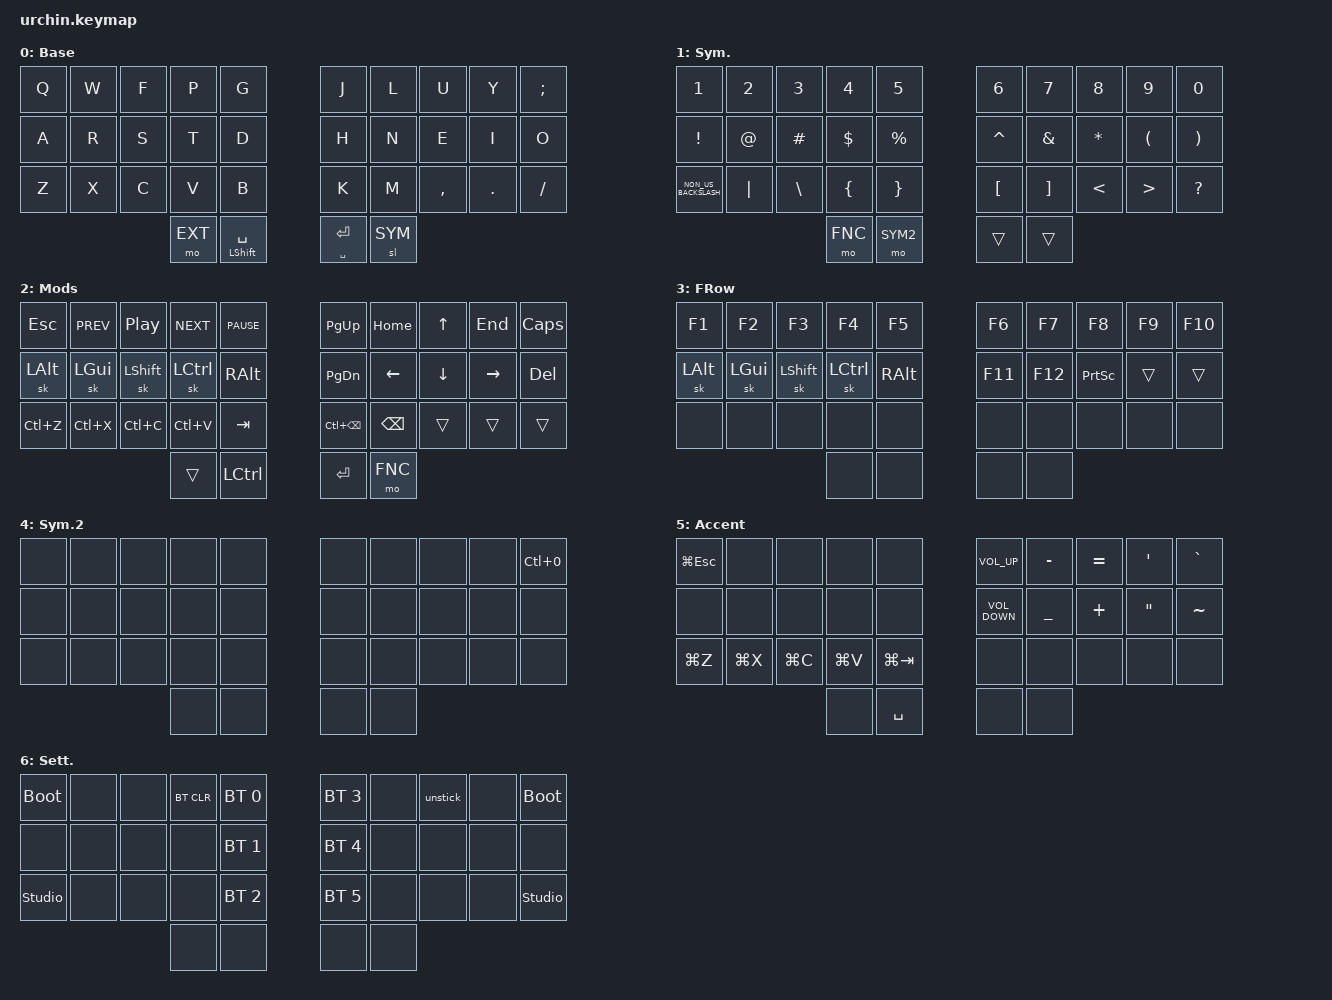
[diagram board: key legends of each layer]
/*
 * Copyright (c) 2020 duckyb
 *
 * SPDX-License-Identifier: MIT
 */

#include <behaviors.dtsi>
#include <dt-bindings/zmk/bt.h>
#include <dt-bindings/zmk/keys.h>
#include "keymap_italian.h"

// Layer definitions

#define BASE 0
#define SYM 1
#define EXT 2
#define FNC 3
#define SYM2 4
#define ACCENT 5
#define SETTINGS 6

// -----------------

&sk {
    // don't release mods on other mods presses

    ignore-modifiers;
};

/ {
    behaviors {
        // Enables holding the first mod-tap key
        // by performing a tap-release-hold sequence.
        // To use it: "&qt KEYCODE1 KEYCODE2"

        qt: quick_tap {
            compatible = "zmk,behavior-hold-tap";
            label = "QUICK_TAP";
            #binding-cells = <2>;
            flavor = "hold-preferred";
            tapping-term-ms = <200>;
            quick-tap-ms = <200>;
            bindings = <&kp>, <&kp>;
        };
    };

    macros {
        // sometimes my device thinks a modifier is being held down
        // pressing all modifiers fixes it.

        unstick: unstick {
            label = "ZM_unstick";
            compatible = "zmk,behavior-macro";
            #binding-cells = <0>;
            bindings = <&kp LSHIFT &kp RSHIFT &kp LCTRL &kp RCTRL &kp LALT &kp RALT &kp LGUI &kp RGUI>;
        };
    };

    combos {
        compatible = "zmk,combos";

        // both right thumb keys

        combo_accent {
            timeout-ms = <200>;
            key-positions = <32 33>;
            bindings = <&mo ACCENT>;
        };

        // internal-left & external-right thumb keys

        combo_sym2 {
            timeout-ms = <200>;
            key-positions = <31 33>;
            bindings = <&mo SYM2>;
        };

        // both left thumb keys

        combo_settings {
            timeout-ms = <200>;
            key-positions = <30 31>;
            bindings = <&mo SETTINGS>;
        };

        // left index & middle fingers (home-row)
        // hold control & space for Adobe workflow

        combo_ctrl_space {
            timeout-ms = <200>;
            key-positions = <12 13>;
            bindings = <&kp LC(SPACE)>;
            layers = <BASE>;
        };
    };

    keymap {
        compatible = "zmk,keymap";

        // Base alpha layer

        default_layer {
            label = "Base";
            bindings = <
&kp Q  &kp W  &kp F  &kp P    &kp G             &kp J            &kp L    &kp U      &kp Y    &kp SEMICOLON
&kp A  &kp R  &kp S  &kp T    &kp D             &kp H            &kp N    &kp E      &kp I    &kp O
&kp Z  &kp X  &kp C  &kp V    &kp B             &kp K            &kp M    &kp COMMA  &kp DOT  &kp SLASH
                     &mo EXT  &qt LSHIFT SPACE  &qt SPACE ENTER  &sl SYM
            >;
        };

        // Numbers and high frequency symbols

        sym_layer {
            label = "Sym.";
            bindings = <
&kp N1                &kp N2       &kp N3         &kp N4          &kp N5           &kp N6            &kp N7             &kp N8         &kp N9                &kp N0
&kp EXCLAMATION       &kp AT_SIGN  &kp HASH       &kp DOLLAR      &kp PERCENT      &kp CARET         &kp AMPERSAND      &kp ASTERISK   &kp LEFT_PARENTHESIS  &kp RIGHT_PARENTHESIS
&kp NON_US_BACKSLASH  &kp PIPE     &kp BACKSLASH  &kp LEFT_BRACE  &kp RIGHT_BRACE  &kp LEFT_BRACKET  &kp RIGHT_BRACKET  &kp LESS_THAN  &kp GREATER_THAN      &kp QUESTION
                                                  &mo FNC         &mo SYM2         &trans            &trans
            >;
        };

        // Main modifiers and arrow keys

        ext_layer {
            label = "Mods";
            bindings = <
&kp ESC    &kp C_PREV  &kp C_PP    &kp C_NEXT  &kp C_PAUSE  &kp PG_UP     &kp HOME  &kp UP    &kp END    &kp CAPS
&sk LALT   &sk LGUI    &sk LSHIFT  &sk LCTRL   &kp RALT     &kp PG_DN     &kp LEFT  &kp DOWN  &kp RIGHT  &kp DEL
&kp LC(Z)  &kp LC(X)   &kp LC(C)   &kp LC(V)   &kp TAB      &kp LC(BSPC)  &kp BSPC  &trans    &trans     &trans
                                   &trans      &kp LCTRL    &kp ENTER     &mo FNC
            >;
        };

        // Function keys with modifiers

        fnc_layer {
            label = "FRow";
            bindings = <
&kp F1    &kp F2    &kp F3      &kp F4     &kp F5    &kp F6   &kp F7   &kp F8           &kp F9  &kp F10
&sk LALT  &sk LGUI  &sk LSHIFT  &sk LCTRL  &kp RALT  &kp F11  &kp F12  &kp PRINTSCREEN  &trans  &trans
&none     &none     &none       &none      &none     &none    &none    &none            &none   &none
                                &none      &none     &none    &none
            >;
        };

        // Low frequency symbols.

        symbols_2_layer {
            label = "Sym.2";
            bindings = <
&none  &none  &none  &none  &none  &none  &none  &none  &none  &kp LC(N0)
&none  &none  &none  &none  &none  &none  &none  &none  &none  &none
&none  &none  &none  &none  &none  &none  &none  &none  &none  &none
                     &none  &none  &none  &none
            >;
        };

        // Used to type regional accents.

        accent_layer {
            label = "Accent";
            bindings = <
&kp LG(ESCAPE)  &none      &none      &none      &none        &kp C_VOLUME_UP    &kp MINUS       &kp EQUAL  &kp SINGLE_QUOTE   &kp GRAVE
&none           &none      &none      &none      &none        &kp C_VOLUME_DOWN  &kp UNDERSCORE  &kp PLUS   &kp DOUBLE_QUOTES  &kp TILDE
&kp LG(Z)       &kp LG(X)  &kp LG(C)  &kp LG(V)  &kp LG(TAB)  &none              &none           &none      &none              &none
                                      &none      &kp SPACE    &none              &none
            >;
        };

        // Used to change the keyboard's settings.

        settings_layer {
            label = "Sett.";
            bindings = <
&bootloader     &none  &none  &bt BT_CLR  &bt BT_SEL 0  &bt BT_SEL 3  &none  &unstick  &none  &bootloader
&none           &none  &none  &none       &bt BT_SEL 1  &bt BT_SEL 4  &none  &none     &none  &none
&studio_unlock  &none  &none  &none       &bt BT_SEL 2  &bt BT_SEL 5  &none  &none     &none  &studio_unlock
                              &none       &none         &none         &none
            >;
        };
    };
};
